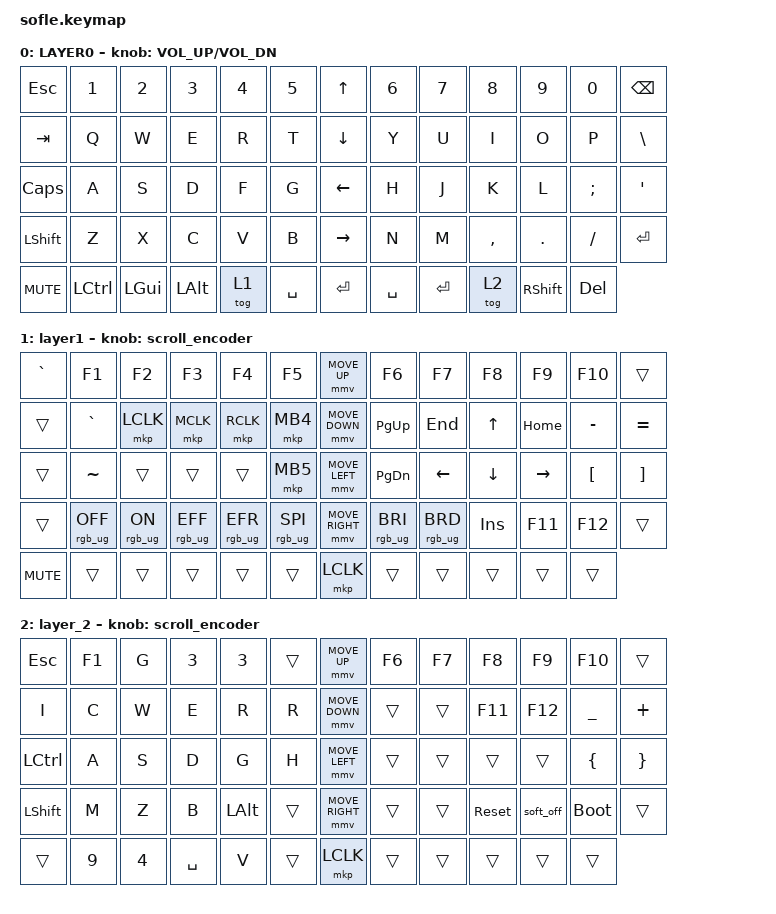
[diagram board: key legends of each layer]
#include <behaviors/mouse_keys.dtsi>
#include <behaviors.dtsi>
#include <dt-bindings/zmk/bt.h>
#include <dt-bindings/zmk/keys.h>
#include <dt-bindings/zmk/mouse.h>
#include <dt-bindings/zmk/outputs.h>
#include <dt-bindings/zmk/rgb.h>

#define ZMK_MOUSE_DEFAULT_MOVE_VAL 1200  // 600
#define ZMK_MOUSE_DEFAULT_SCRL_VAL 20    // 10
#define U_MS_U &mmv MOVE_UP
#define U_MS_D &mmv MOVE_DOWN
#define U_MS_L &mmv MOVE_LEFT
#define U_MS_R &mmv MOVE_RIGHT
#define ZMK_MOUSE_DEFAULT_MOVE_VAL 1200  //  600
#define ZMK_MOUSE_DEFAULT_SCRL_VAL 20    // 10

/ {
    behaviors {
        mmv {
            acceleration-exponent = <1>;      // 1
            time-to-max-speed-ms = <900>;    // 40
            delay-ms = <0>;                   // 0
        };

        msc {
            acceleration-exponent = <1>;      // 0
            time-to-max-speed-ms = <400>;      // 500
            delay-ms = <0>;                   //   10
        };
    };

    scroll_encoder: scroll_encoder {
        compatible = "zmk,behavior-sensor-rotate";
        #sensor-binding-cells = <0>;
        bindings = <&msc SCRL_DOWN>, <&msc SCRL_UP>;

        tap-ms = <30>;
    };

    keymap {
        compatible = "zmk,keymap";

        layer0 {
            bindings = <
&kp ESC     &kp N1     &kp N2        &kp N3        &kp N4  &kp N5       &kp UP_ARROW     &kp N6     &kp N7     &kp N8     &kp N9           &kp N0      &kp BACKSPACE
&kp TAB     &kp Q      &kp W         &kp E         &kp R   &kp T        &kp DOWN_ARROW   &kp Y      &kp U      &kp I      &kp O            &kp P       &kp BSLH
&kp CAPS    &kp A      &kp S         &kp D         &kp F   &kp G        &kp LEFT_ARROW   &kp H      &kp J      &kp K      &kp L            &kp SEMI    &kp APOS
&kp LSHFT   &kp Z      &kp X         &kp C         &kp V   &kp B        &kp RIGHT_ARROW  &kp N      &kp M      &kp COMMA  &kp DOT          &kp FSLH    &kp ENTER
&kp C_MUTE  &kp LCTRL  &kp LEFT_GUI  &kp LEFT_ALT  &tog 1   &kp SPACE    &kp ENTER        &kp SPACE  &kp ENTER  &tog 2      &kp RIGHT_SHIFT  &kp DELETE
            >;

            sensor-bindings = <&inc_dec_kp C_VOLUME_UP C_VOL_DN>;
            display-name = "LAYER0";
        };

        layer_1 {
            bindings = <
&kp GRAVE   &kp F1           &kp F2          &kp F3           &kp F4           &kp F5             &mmv MOVE_UP     &kp F6           &kp F7           &kp F8      &kp F9     &kp F10           &trans
&trans      &kp GRAVE        &mkp LCLK       &mkp MCLK        &mkp RCLK        &mkp MB4           &mmv MOVE_DOWN   &kp PG_UP        &kp END          &kp UP      &kp HOME   &kp MINUS         &kp EQUAL
&trans      &kp TILDE        &trans          &trans           &trans           &mkp MB5           &mmv MOVE_LEFT   &kp PG_DN        &kp LEFT         &kp DOWN    &kp RIGHT  &kp LEFT_BRACKET  &kp RIGHT_BRACKET
&trans      &rgb_ug RGB_OFF  &rgb_ug RGB_ON  &rgb_ug RGB_EFF  &rgb_ug RGB_EFR  &rgb_ug RGB_SPI    &mmv MOVE_RIGHT  &rgb_ug RGB_BRI  &rgb_ug RGB_BRD  &kp INSERT  &kp F11    &kp F12           &trans
&kp C_MUTE  &trans           &trans          &trans           &trans           &trans             &mkp LCLK        &trans           &trans           &trans      &trans     &trans
            >;

            display-name = "layer1";
            sensor-bindings = <&scroll_encoder>;
        };

        layer_2 {
            bindings = <
&kp ESC   &kp F1   &kp G    &kp N3  &kp 3        &trans         &mmv MOVE_UP     &kp F6  &kp F7  &kp F8      &kp F9     &kp F10      &trans
&kp I     &kp C    &kp W    &kp E   &kp R        &kp R          &mmv MOVE_DOWN   &trans  &trans  &kp F11     &kp F12    &kp UNDER    &kp PLUS
&kp LCTRL &kp A    &kp S    &kp D   &kp G        &kp H           &mmv MOVE_LEFT   &trans  &trans  &trans      &trans     &kp LBRC     &kp RBRC
&kp LSHFT &kp M    &kp Z    &kp B   &kp LEFT_ALT &trans          &mmv MOVE_RIGHT  &trans  &trans  &sys_reset  &soft_off  &bootloader  &trans
&trans     &kp N9        &kp N4          &kp SPACE       &kp V       &trans          &mkp LCLK        &trans  &trans  &trans      &trans     &trans
            >;

            sensor-bindings = <&scroll_encoder>;
        };
    };
};
